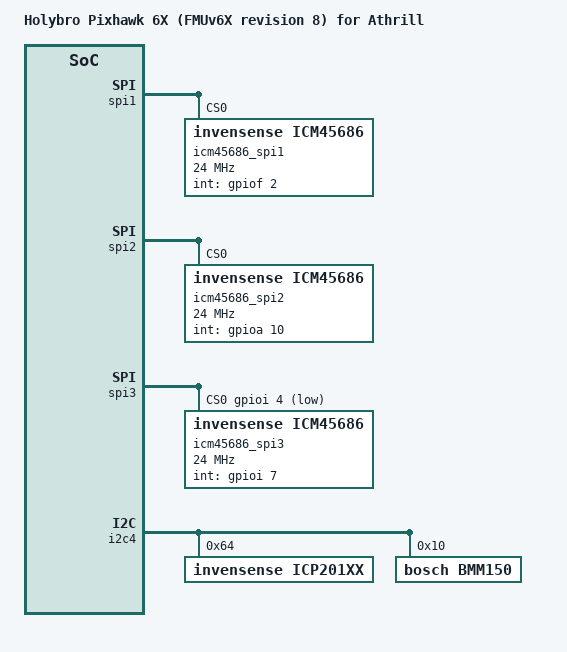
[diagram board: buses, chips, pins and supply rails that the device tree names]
/* SPDX-License-Identifier: MIT */

/*
 * Holybro Pixhawk 6X / FMUv6X sensor-set revision 8: three ICM-45686, one on
 * each internal SPI bus. PX4 (rc.board_sensors, V6X008) starts them as
 * icm45686 -b 3 -R 0 (SPI3, primary), -b 2 -R 0 (SPI2) and -b 1 -R 10 (SPI1,
 * roll 180 yaw 90); baro and magnetometer are as revision 6.
 */

#include "pixhawk6x.dts"

/ {
	model = "Holybro Pixhawk 6X (FMUv6X revision 8) for Athrill";
};

/* PX4 reads the PG0-high and PG0-low 16-bit ADC3 conversions. Channel 14
 * uses the documented fallback base-board version 0; channel 15's 49760
 * scales to 3110 in PX4's 12-bit ladder table (ordinal 8: 2920..3308, nominal
 * 2996..3230), selecting ordinal 8. */
&adc3_common {
	athrill,adc-select-gpios = <&gpiog 0 GPIO_ACTIVE_HIGH>;
	athrill,adc-channel-values = <14 65535 0>,
				     <15 65535 49760>;
};

/* Revision 8 SPI1: ICM-45686 on CS PI9, DRDY PF2, PX4 -R 10. */
&spi1 {
	/delete-node/ imu@0;

	icm45686_spi1: imu@0 {
		compatible = "invensense,icm45686";
		reg = <0>;
		spi-max-frequency = <24000000>;
		int-gpios = <&gpiof 2 GPIO_ACTIVE_HIGH>;
		athrill,mount-rotation = "roll-180-yaw-90";
	};
};

/* Revision 8 SPI2: ICM-45686 on CS PH5, DRDY PA10, PX4 -R 0. */
&spi2 {
	/delete-node/ imu@0;

	icm45686_spi2: imu@0 {
		compatible = "invensense,icm45686";
		reg = <0>;
		spi-max-frequency = <24000000>;
		int-gpios = <&gpioa 10 GPIO_ACTIVE_HIGH>;
		athrill,mount-rotation = "none";
	};
};

/* Revision 8 SPI3: one ICM-45686 on CS PI4, DRDY PI7, PX4 -R 0 (primary). */
&spi3 {
	cs-gpios = <&gpioi 4 GPIO_ACTIVE_LOW>;

	/delete-node/ gyroscope@0;
	/delete-node/ accelerometer@1;

	icm45686_spi3: imu@0 {
		compatible = "invensense,icm45686";
		reg = <0>;
		spi-max-frequency = <24000000>;
		int-gpios = <&gpioi 7 GPIO_ACTIVE_HIGH>;
		athrill,mount-rotation = "none";
	};
};

/* Internal I2C4: ICP-201xx and BMM150, both rotation 0 (as revision 6). */
&i2c4 {
	/delete-node/ pressure@77;
	/delete-node/ magnetometer@10;

	icp201xx: pressure@64 {
		compatible = "invensense,icp201xx";
		reg = <0x64>;
	};

	bmm150: magnetometer@10 {
		compatible = "bosch,bmm150";
		reg = <0x10>;
	};
};
